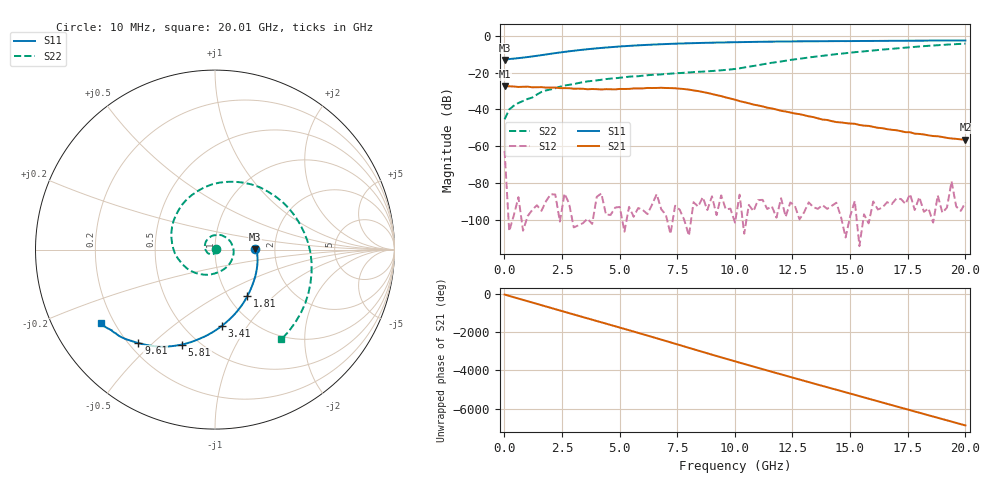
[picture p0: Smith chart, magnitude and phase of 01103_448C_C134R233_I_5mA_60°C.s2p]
!;Filter: kein Filter
!auto
!3/21/2019 9:27:39 AM
!3/21/2019 9:27:53 AM
!SP-Measurements Prober G4
!SP-Measurements Prober G4
!01103_448C
!134
!233
!12
!60
!-20
!0.00499992
!1.96
!0.64375220
!0.64375220
# Hz S  RI  R 50
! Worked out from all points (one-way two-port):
!   101 points, 10 MHz to 20.01 GHz, reference 50 ohm
!   highest |S21| = -27.29 dB at 10 MHz (marker M1); lowest = -56.5 dB at 20.01 GHz (marker M2)
!   lowest |S11| = -13.0 dB at 10 MHz (marker M3), VSWR 1.58, Z = 79 + j0.524 ohm
!   |S11| at or under -10 dB: start of sweep to 1.822 GHz
!   |S22| runs from -45.4 to -4.1 dB; largest |S21 - S12| = 0.043
!   S11 on the Smith chart (normalised r, x): 10 MHz: 1.58, +0.01; 1.81 GHz: 1.22, -0.70; 3.41 GHz: 0.74, -0.77; 5.81 GHz: 0.41, -0.63; 9.61 GHz: 0.24, -0.45; 20.01 GHz: 0.15, -0.29
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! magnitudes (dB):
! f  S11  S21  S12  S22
! 10 MHz  -13.0  -27.3  -62.6  -45.4
! 210 MHz  -12.5  -27.4  -106.4  -40.0
! 610 MHz  -12.0  -27.7  -87.8  -36.5
! 1.21 GHz  -11.1  -27.9  -94.8  -33.5
! 1.61 GHz  -10.4  -27.8  -95.2  -30.4
! 1.81 GHz  -10.0  -28.1  -89.9  -29.6
! 3.41 GHz  -7.4  -28.7  -102.0  -25.1
! 4.21 GHz  -6.5  -29.1  -85.8  -23.8
! 5.81 GHz  -5.0  -28.5  -93.7  -21.9
! 6.81 GHz  -4.4  -28.2  -94.4  -20.9
! 8.01 GHz  -3.9  -29.2  -108.8  -19.8
! 9.61 GHz  -3.4  -33.4  -94.5  -18.4
! 10.01 GHz  -3.3  -34.7  -101.7  -17.9
! 12.01 GHz  -3.0  -40.7  -88.4  -13.9
! 13.41 GHz  -2.8  -44.2  -93.3  -11.4
! 14.41 GHz  -2.7  -46.9  -90.8  -9.9
! 15.21 GHz  -2.7  -47.8  -89.8  -8.8
! 16.81 GHz  -2.6  -51.1  -91.6  -7.0
! 19.21 GHz  -2.4  -55.5  -93.5  -4.7
! 19.41 GHz  -2.4  -55.8  -79.2  -4.5
! 19.61 GHz  -2.4  -56.0  -92.9  -4.4
! 20.01 GHz  -2.4  -56.5  -90.8  -4.1
